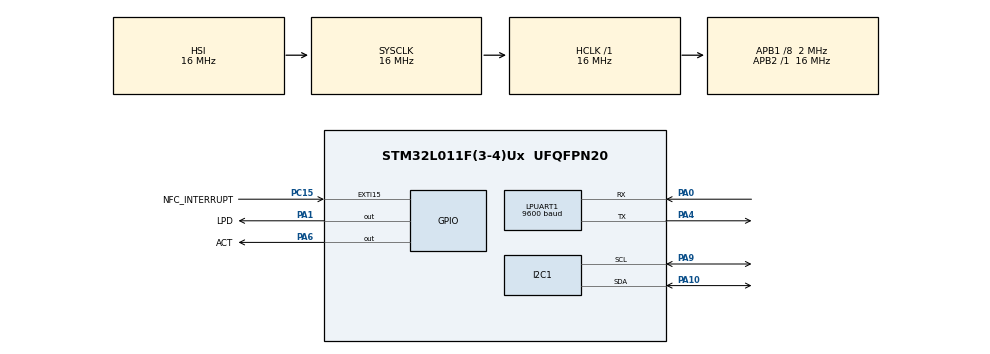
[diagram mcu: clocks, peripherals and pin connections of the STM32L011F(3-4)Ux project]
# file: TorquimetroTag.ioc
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I2C1.Timing=0x00503D58
LPUART1.BaudRate=9600
LPUART1.WordLength=UART_WORDLENGTH_8B
Mcu.Family=STM32L0
Mcu.Name=STM32L011F(3-4)Ux
Mcu.Package=UFQFPN20
NVIC.EXTI4_15_IRQn=true\:0\:0\:false\:false\:true\:true\:true\:true
NVIC.RTC_IRQn=true\:0\:0\:false\:false\:true\:true\:true\:true
PA0-CK_IN.Mode=Asynchronous
PA0-CK_IN.Signal=LPUART1_RX
PA1.GPIO_Label=LPD
PA1.Signal=GPIO_Output
PA10.Mode=I2C
PA10.Signal=I2C1_SDA
PA4.Mode=Asynchronous
PA4.Signal=LPUART1_TX
PA6.GPIO_Label=ACT
PA6.Signal=GPIO_Output
PA9.Mode=I2C
PA9.Signal=I2C1_SCL
PC15-OSC32_OUT.GPIO_Label=NFC_INTERRUPT
PC15-OSC32_OUT.Signal=GPXTI15
ProjectManager.HeapSize=0x200
ProjectManager.StackSize=0x400
ProjectManager.TargetToolchain=STM32CubeIDE
RCC.AHBFreq_Value=16000000
RCC.APB1CLKDivider=RCC_HCLK_DIV8
RCC.APB1Freq_Value=2000000
RCC.APB1TimFreq_Value=4000000
RCC.APB2Freq_Value=16000000
RCC.APB2TimFreq_Value=16000000
RCC.HCLKFreq_Value=16000000
RCC.HSE_VALUE=8000000
RCC.HSI16_VALUE=16000000
RCC.HSI_VALUE=16000000
RCC.I2c1ClockSelection=RCC_I2C1CLKSOURCE_HSI
RCC.LSE_VALUE=32768
RCC.Lpuart1ClockSelection=RCC_LPUART1CLKSOURCE_HSI
RCC.MSIClockRange=RCC_MSIRANGE_6
RCC.MSI_VALUE=4194000
RCC.SYSCLKFreq_VALUE=16000000
RCC.SYSCLKSource=RCC_SYSCLKSOURCE_HSI
RCC.VCOOutputFreq_Value=48000000
VP_RTC_VS_RTC_Activate.Mode=RTC_Enabled
VP_RTC_VS_RTC_WakeUp_intern.Mode=WakeUp
board=custom

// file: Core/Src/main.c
/* USER CODE BEGIN Header */
/**
 ******************************************************************************
 * @file           : main.c
 * @brief          : Main program body
 ******************************************************************************
 * @attention
 *
 * Copyright (c) 2025 STMicroelectronics.
 * All rights reserved.
 *
 * This software is licensed under terms that can be found in the LICENSE file
 * in the root directory of this software component.
 * If no LICENSE file comes with this software, it is provided AS-IS.
 *
 ******************************************************************************
 */
/* USER CODE END Header */
#include "main.h"

/* USER CODE BEGIN Includes */
#include <stdio.h>
#include "string.h"
#include <stdlib.h>
#include <stdint.h>

#include "st25dv_driver.h"
/* USER CODE END Includes */

/* USER CODE BEGIN PD */
#define LSB_UV 63
#define USTRAIN_PER_BIT_x1000 131

#define ADS1115_ADDR  (0x48 << 1)

#define ADS_REG_CONV  0x00
#define ADS_REG_CONF  0x01

#define CHARGING_INTERVAL_TICKS 1
static uint16_t wakeup_counter = 0;
static uint16_t wakeup_cycles = 2; //CHARGING_INTERVAL_MS / (8 * 1000);

#define READING_SAMPLING_INTERVAL_MS 4

#define SAMPLES_FOR_TARING 10
#define SAMPLES_FOR_READING 10

int32_t strain_uE = 0;
int32_t voltage_uV = 0;

uint32_t last_charging_process = 0;

typedef enum {
	CHARGING = 1, TARING = 2, READING = 3, PROCESSING = 4,
} Process_State;

uint8_t isTared = 0;

Process_State state = CHARGING;

/* USER CODE END PD */

I2C_HandleTypeDef hi2c1;

UART_HandleTypeDef hlpuart1;

RTC_HandleTypeDef hrtc;

/* USER CODE BEGIN PV */
#define DEBUG_PRINT(msg) HAL_UART_Transmit(&hlpuart1, (uint8_t*)msg, strlen(msg), 200)
void I2C_Scanner(I2C_HandleTypeDef *hi2c);
/* USER CODE END PV */

void SystemClock_Config(void);
static void MX_GPIO_Init(void);
static void MX_RTC_Init(void);
static void MX_LPUART1_UART_Init(void);
static void MX_I2C1_Init(void);

/* USER CODE BEGIN 0 */
/* Função auxiliar para converter byte em Hex (ex: 0x2A) sem usar sprintf */
/* Requer um buffer de pelo menos 3 bytes (2 digitos + \0) */
void Uint8ToHexStr(uint8_t num, char* str) {
    const char hexDigits[] = "0123456789ABCDEF";
    str[0] = hexDigits[(num >> 4) & 0x0F]; // Nibble alto
    str[1] = hexDigits[num & 0x0F];        // Nibble baixo
    str[2] = '\0';                         // Terminador nulo
}

/* Função auxiliar para converter Inteiro em String decimal simples */
void IntToDecStr(uint8_t num, char* str) {
    uint8_t i = 0;
    if(num >= 100) str[i++] = (num / 100) + '0';
    if(num >= 10)  str[i++] = ((num / 10) % 10) + '0';
    str[i++] = (num % 10) + '0';
    str[i] = '\0';
}

void I2C_Scanner(I2C_HandleTypeDef *hi2c) {
    // Reduzido de 64 bytes para apenas 4 bytes!
    char smallBuf[4];
    uint8_t devices_found = 0;

    DEBUG_PRINT("\r\n--- Scanning I2C bus ---\r\n");

    for(uint8_t addr = 1; addr < 128; addr++) {
        /* O HAL usa o endereço deslocado (shifted) à esquerda */
        if(HAL_I2C_IsDeviceReady(hi2c, (uint16_t)(addr << 1), 2, 10) == HAL_OK) {

            // Imprime em partes para não precisar de um buffer gigante
            DEBUG_PRINT("Device found at: 0x");

            // Converte endereço 7-bit
            Uint8ToHexStr(addr, smallBuf);
            DEBUG_PRINT(smallBuf);

            DEBUG_PRINT(" (8-bit: 0x");

            // Converte endereço 8-bit (write address)
            Uint8ToHexStr(addr << 1, smallBuf);
            DEBUG_PRINT(smallBuf);

            DEBUG_PRINT(")\r\n");

            devices_found++;
        }
    }

    if(devices_found == 0) {
        DEBUG_PRINT("No I2C devices found!\r\n");
    } else {
        DEBUG_PRINT("\r\nTotal devices found: ");
        IntToDecStr(devices_found, smallBuf);
        DEBUG_PRINT(smallBuf);
        DEBUG_PRINT("\r\n");
    }

    DEBUG_PRINT("--- Scan Complete ---\r\n");
}

int16_t ADS1115_Read(void) {
	uint8_t config[3];
	uint8_t data[2];
	int16_t raw_val;

	config[0] = ADS_REG_CONF;
	config[1] = 0xC5;
	config[2] = 0x83;

	if (HAL_I2C_Master_Transmit(&hi2c1, ADS1115_ADDR, config, 3, 100) != HAL_OK)
		return -1;

	HAL_Delay(10);

	uint8_t reg_ptr = ADS_REG_CONV;
	HAL_I2C_Master_Transmit(&hi2c1, ADS1115_ADDR, &reg_ptr, 1, 100);

	if (HAL_I2C_Master_Receive(&hi2c1, ADS1115_ADDR, data, 2, 100) == HAL_OK) {
		raw_val = (int16_t) ((data[0] << 8) | data[1]);
		return raw_val;
	}
	return -1;
}

void debug_print_int(int32_t v) {
	char buf[12];
	int i = 10;

	if (v < 0) {
		HAL_UART_Transmit(&hlpuart1, (uint8_t*) "-", 1, 100);
		v = -v;
	}

	do {
		buf[i--] = '0' + (v % 10);
		v /= 10;
	} while (v);

	buf[11] = '\n';
	buf[10] = '\r';

	HAL_UART_Transmit(&hlpuart1, (uint8_t*) &buf[i + 1], 11 - i, 100);
}

void rtc_start_wakeup(uint16_t ticks) {
	HAL_RTCEx_DeactivateWakeUpTimer(&hrtc);

	__HAL_RTC_WAKEUPTIMER_CLEAR_FLAG(&hrtc, RTC_FLAG_WUTF);
	__HAL_PWR_CLEAR_FLAG(PWR_FLAG_WU);

	HAL_RTCEx_SetWakeUpTimer_IT(&hrtc, ticks, RTC_WAKEUPCLOCK_CK_SPRE_16BITS);
}

void enter_stop_mode(void) {
	__HAL_PWR_CLEAR_FLAG(PWR_FLAG_WU);

	HAL_SuspendTick();

	HAL_PWR_EnterSTOPMode(PWR_LOWPOWERREGULATOR_ON, PWR_STOPENTRY_WFI);

	SystemClock_Config();

	HAL_ResumeTick();
}

void HAL_RTCEx_WakeUpTimerEventCallback(RTC_HandleTypeDef *hrtc) {
	wakeup_counter++;

	if (wakeup_counter >= wakeup_cycles) {
		wakeup_counter = 0;
		if (!isTared) {
			state = TARING;
		} else {
			state = READING;
		}
	} else {
		state = CHARGING;
	}
}

int32_t platform_i2c_write(uint8_t addr, uint16_t reg, uint8_t *data,
		uint16_t len) {
	return HAL_I2C_Mem_Write(&hi2c1, addr << 1, reg, I2C_MEMADD_SIZE_16BIT,
			data, len, 100);
}

int32_t platform_i2c_read(uint8_t addr, uint16_t reg, uint8_t *data,
		uint16_t len) {
	return HAL_I2C_Mem_Read(&hi2c1, addr << 1, reg, I2C_MEMADD_SIZE_16BIT, data,
			len, 100);
}

/* USER CODE END 0 */

int main(void)
{

  /* MCU Configuration--------------------------------------------------------*/

  /* Reset of all peripherals, Initializes the Flash interface and the Systick. */
  HAL_Init();

  /* Configure the system clock */
  SystemClock_Config();

  /* Initialize all configured peripherals */
  MX_GPIO_Init();
  MX_RTC_Init();
  MX_LPUART1_UART_Init();
  MX_I2C1_Init();
  /* USER CODE BEGIN 2 */
	DEBUG_PRINT("--- Iniciando! ---\r\n");
	I2C_Scanner(&hi2c1);
	Setup_NFC();

	DEBUG_PRINT("Starting...\r\n");

  /* USER CODE END 2 */

  /* Infinite loop */
	while (1) {

	}
}

void SystemClock_Config(void)
{
  RCC_OscInitTypeDef RCC_OscInitStruct = {0};
  RCC_ClkInitTypeDef RCC_ClkInitStruct = {0};
  RCC_PeriphCLKInitTypeDef PeriphClkInit = {0};

  /** Configure the main internal regulator output voltage
  */
  __HAL_PWR_VOLTAGESCALING_CONFIG(PWR_REGULATOR_VOLTAGE_SCALE1);

  /** Initializes the RCC Oscillators according to the specified parameters
  * in the RCC_OscInitTypeDef structure.
  */
  RCC_OscInitStruct.OscillatorType = RCC_OSCILLATORTYPE_HSI|RCC_OSCILLATORTYPE_LSI;
  RCC_OscInitStruct.HSIState = RCC_HSI_ON;
  RCC_OscInitStruct.HSICalibrationValue = RCC_HSICALIBRATION_DEFAULT;
  RCC_OscInitStruct.LSIState = RCC_LSI_ON;
  RCC_OscInitStruct.PLL.PLLState = RCC_PLL_NONE;
  if (HAL_RCC_OscConfig(&RCC_OscInitStruct) != HAL_OK)
  {
    Error_Handler();
  }

  /** Initializes the CPU, AHB and APB buses clocks
  */
  RCC_ClkInitStruct.ClockType = RCC_CLOCKTYPE_HCLK|RCC_CLOCKTYPE_SYSCLK
                              |RCC_CLOCKTYPE_PCLK1|RCC_CLOCKTYPE_PCLK2;
  RCC_ClkInitStruct.SYSCLKSource = RCC_SYSCLKSOURCE_HSI;
  RCC_ClkInitStruct.AHBCLKDivider = RCC_SYSCLK_DIV1;
  RCC_ClkInitStruct.APB1CLKDivider = RCC_HCLK_DIV8;
  RCC_ClkInitStruct.APB2CLKDivider = RCC_HCLK_DIV1;

  if (HAL_RCC_ClockConfig(&RCC_ClkInitStruct, FLASH_LATENCY_0) != HAL_OK)
  {
    Error_Handler();
  }
  PeriphClkInit.PeriphClockSelection = RCC_PERIPHCLK_LPUART1|RCC_PERIPHCLK_I2C1
                              |RCC_PERIPHCLK_RTC;
  PeriphClkInit.Lpuart1ClockSelection = RCC_LPUART1CLKSOURCE_HSI;
  PeriphClkInit.I2c1ClockSelection = RCC_I2C1CLKSOURCE_HSI;
  PeriphClkInit.RTCClockSelection = RCC_RTCCLKSOURCE_LSI;
  if (HAL_RCCEx_PeriphCLKConfig(&PeriphClkInit) != HAL_OK)
  {
    Error_Handler();
  }
}

static void MX_I2C1_Init(void)
{

  hi2c1.Instance = I2C1;
  hi2c1.Init.Timing = 0x00503D58;
  hi2c1.Init.OwnAddress1 = 0;
  hi2c1.Init.AddressingMode = I2C_ADDRESSINGMODE_7BIT;
  hi2c1.Init.DualAddressMode = I2C_DUALADDRESS_DISABLE;
  hi2c1.Init.OwnAddress2 = 0;
  hi2c1.Init.OwnAddress2Masks = I2C_OA2_NOMASK;
  hi2c1.Init.GeneralCallMode = I2C_GENERALCALL_DISABLE;
  hi2c1.Init.NoStretchMode = I2C_NOSTRETCH_DISABLE;
  if (HAL_I2C_Init(&hi2c1) != HAL_OK)
  {
    Error_Handler();
  }

  /** Configure Analogue filter
  */
  if (HAL_I2CEx_ConfigAnalogFilter(&hi2c1, I2C_ANALOGFILTER_ENABLE) != HAL_OK)
  {
    Error_Handler();
  }

  /** Configure Digital filter
  */
  if (HAL_I2CEx_ConfigDigitalFilter(&hi2c1, 0) != HAL_OK)
  {
    Error_Handler();
  }

}

static void MX_LPUART1_UART_Init(void)
{

  hlpuart1.Instance = LPUART1;
  hlpuart1.Init.BaudRate = 9600;
  hlpuart1.Init.WordLength = UART_WORDLENGTH_8B;
  hlpuart1.Init.StopBits = UART_STOPBITS_1;
  hlpuart1.Init.Parity = UART_PARITY_NONE;
  hlpuart1.Init.Mode = UART_MODE_TX_RX;
  hlpuart1.Init.HwFlowCtl = UART_HWCONTROL_NONE;
  hlpuart1.Init.OneBitSampling = UART_ONE_BIT_SAMPLE_DISABLE;
  hlpuart1.AdvancedInit.AdvFeatureInit = UART_ADVFEATURE_NO_INIT;
  if (HAL_UART_Init(&hlpuart1) != HAL_OK)
  {
    Error_Handler();
  }

}

static void MX_RTC_Init(void)
{

  /** Initialize RTC Only
  */
  hrtc.Instance = RTC;
  hrtc.Init.HourFormat = RTC_HOURFORMAT_24;
  hrtc.Init.AsynchPrediv = 127;
  hrtc.Init.SynchPrediv = 255;
  hrtc.Init.OutPut = RTC_OUTPUT_DISABLE;
  hrtc.Init.OutPutRemap = RTC_OUTPUT_REMAP_NONE;
  hrtc.Init.OutPutPolarity = RTC_OUTPUT_POLARITY_HIGH;
  hrtc.Init.OutPutType = RTC_OUTPUT_TYPE_OPENDRAIN;
  if (HAL_RTC_Init(&hrtc) != HAL_OK)
  {
    Error_Handler();
  }

  /** Enable the WakeUp
  */
  if (HAL_RTCEx_SetWakeUpTimer_IT(&hrtc, 0, RTC_WAKEUPCLOCK_RTCCLK_DIV16) != HAL_OK)
  {
    Error_Handler();
  }

}

static void MX_GPIO_Init(void)
{
  GPIO_InitTypeDef GPIO_InitStruct = {0};

  /* GPIO Ports Clock Enable */
  __HAL_RCC_GPIOC_CLK_ENABLE();
  __HAL_RCC_GPIOA_CLK_ENABLE();

  /*Configure GPIO pin Output Level */
  HAL_GPIO_WritePin(GPIOA, LPD_Pin|ACT_Pin, GPIO_PIN_RESET);

  /*Configure GPIO pin : NFC_INTERRUPT_Pin */
  GPIO_InitStruct.Pin = NFC_INTERRUPT_Pin;
  GPIO_InitStruct.Mode = GPIO_MODE_IT_RISING;
  GPIO_InitStruct.Pull = GPIO_NOPULL;
  HAL_GPIO_Init(NFC_INTERRUPT_GPIO_Port, &GPIO_InitStruct);

  /*Configure GPIO pins : LPD_Pin ACT_Pin */
  GPIO_InitStruct.Pin = LPD_Pin|ACT_Pin;
  GPIO_InitStruct.Mode = GPIO_MODE_OUTPUT_PP;
  GPIO_InitStruct.Pull = GPIO_NOPULL;
  GPIO_InitStruct.Speed = GPIO_SPEED_FREQ_LOW;
  HAL_GPIO_Init(GPIOA, &GPIO_InitStruct);

  /* EXTI interrupt init*/
  HAL_NVIC_SetPriority(EXTI4_15_IRQn, 0, 0);
  HAL_NVIC_EnableIRQ(EXTI4_15_IRQn);

}

void Error_Handler(void)
{
	__disable_irq();
	while (1) {
	}
}
